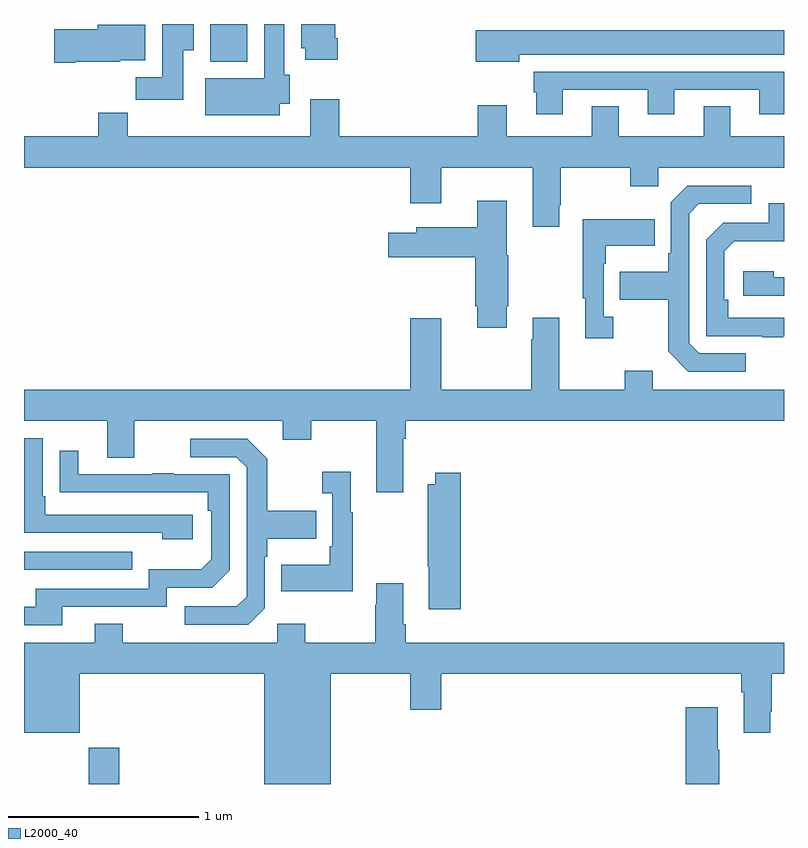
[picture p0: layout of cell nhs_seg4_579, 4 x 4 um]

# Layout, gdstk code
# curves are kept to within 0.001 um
import gdstk
lib = gdstk.Library(unit=1e-6, precision=1e-09)
def R(c, l, rs):  # rectangles x0, y0, x1, y1
    for r in rs: c.add(gdstk.rectangle(r[:2], r[2:], *l))
def P(c, l, *ps):  # polygons
    for p in ps: c.add(gdstk.Polygon(p, *l))
L2000_40 = (2000, 40)

nhs_seg4_579 = lib.new_cell('nhs_seg4_579')
R(nhs_seg4_579, L2000_40, [(139.342,802.9,139.502,803.092), (139,804.027,139.571,804.123), (139.979,806.702,140.176,806.9)])
P(nhs_seg4_579, L2000_40, [(140.651,806.824),(140.638,806.824),(140.638,806.9),(140.459,806.9),(140.459,806.772),(140.48,806.772),(140.48,806.712),(140.651,806.712)],
  [(139.837,806.761),(139.894,806.761),(139.894,806.9),(139.727,806.9),(139.727,806.62),(139.588,806.62),(139.588,806.502),(139.837,806.502)],
  [(140.347,806.48),(140.398,806.48),(140.398,806.634),(140.371,806.634),(140.371,806.9),(140.264,806.9),(140.264,806.614),(139.955,806.614),(139.955,806.42),(140.347,806.42)],
  [(139.27,806.702),(139.506,806.702),(139.506,806.708),(139.639,806.708),(139.639,806.896),(139.388,806.896),(139.388,806.873),(139.158,806.873),(139.158,806.695),(139.27,806.695)],
  [(141.607,806.738),(143,806.738),(143,806.866),(141.378,806.866),(141.378,806.702),(141.607,806.702)],
  [(141.835,806.553),(142.283,806.553),(142.283,806.424),(142.423,806.424),(142.423,806.553),(142.871,806.553),(142.871,806.424),(143,806.424),(143,806.649),(141.683,806.649),(141.683,806.541),(141.695,806.541),(141.695,806.424),(141.835,806.424)],
  [(141.817,805.945),(141.825,805.945),(141.825,806.144),(142.192,806.144),(142.192,806.045),(142.338,806.045),(142.338,806.144),(143,806.144),(143,806.308),(142.717,806.308),(142.717,806.468),(142.577,806.468),(142.577,806.308),(142.129,806.308),(142.129,806.468),(141.989,806.468),(141.989,806.308),(141.541,806.308),(141.541,806.473),(141.389,806.473),(141.389,806.308),(140.66,806.308),(140.66,806.503),(140.507,806.503),(140.507,806.308),(139.547,806.308),(139.547,806.432),(139.391,806.432),(139.391,806.308),(139,806.308),(139,806.144),(141.032,806.144),(141.032,805.956),(141.196,805.956),(141.196,806.144),(141.677,806.144),(141.677,805.833),(141.817,805.833)],
  [(142.798,805.167),(142.554,805.167),(142.5,805.221),(142.5,805.902),(142.551,805.953),(142.828,805.953),(142.828,806.049),(142.491,806.049),(142.404,805.962),(142.404,805.693),(142.392,805.693),(142.392,805.597),(142.135,805.597),(142.135,805.45),(142.392,805.45),(142.392,805.177),(142.497,805.071),(142.798,805.071)],
  [(141.541,805.414),(141.549,805.414),(141.549,805.683),(141.541,805.683),(141.541,805.969),(141.386,805.969),(141.386,805.831),(141.065,805.831),(141.065,805.801),(140.916,805.801),(140.916,805.672),(141.374,805.672),(141.374,805.414),(141.386,805.414),(141.386,805.302),(141.541,805.302)],
  [(142.997,805.257),(143,805.257),(143,805.353),(142.706,805.353),(142.706,805.45),(142.686,805.45),(142.686,805.704),(142.739,805.757),(143,805.757),(143,805.956),(142.92,805.956),(142.92,805.854),(142.68,805.854),(142.59,805.764),(142.59,805.257),(142.885,805.257),(142.885,805.252),(142.997,805.252)],
  [(142.102,805.358),(142.05,805.358),(142.05,805.637),(142.063,805.637),(142.063,805.733),(142.319,805.733),(142.319,805.873),(141.942,805.873),(141.942,805.457),(141.953,805.457),(141.953,805.245),(142.102,805.245)],
  [(143,805.566),(142.946,805.566),(142.946,805.6),(142.785,805.6),(142.785,805.47),(143,805.47)],
  [(140.995,804.716),(141.008,804.716),(141.008,804.812),(143,804.812),(143,804.976),(142.309,804.976),(142.309,805.075),(142.162,805.075),(142.162,804.976),(141.817,804.976),(141.817,805.354),(141.677,805.354),(141.677,805.241),(141.67,805.241),(141.67,804.976),(141.196,804.976),(141.196,805.351),(141.032,805.351),(141.032,804.976),(139,804.976),(139,804.812),(139.439,804.812),(139.439,804.618),(139.579,804.618),(139.579,804.812),(140.363,804.812),(140.363,804.713),(140.511,804.713),(140.511,804.812),(140.855,804.812),(140.855,804.435),(140.995,804.435)],
  [(139.888,804.318),(139.111,804.318),(139.111,804.415),(139.098,804.415),(139.098,804.72),(139,804.72),(139,804.624),(139.002,804.624),(139.002,804.222),(139.727,804.222),(139.727,804.188),(139.888,804.188)],
  [(140.268,803.826),(140.268,804.095),(140.281,804.095),(140.281,804.191),(140.537,804.191),(140.537,804.339),(140.281,804.339),(140.281,804.611),(140.175,804.717),(139.875,804.717),(139.875,804.621),(140.118,804.621),(140.172,804.567),(140.172,803.886),(140.121,803.835),(139.845,803.835),(139.845,803.739),(140.181,803.739)],
  [(139.201,803.832),(139.752,803.832),(139.752,803.934),(139.992,803.934),(140.082,804.024),(140.082,804.531),(139.787,804.531),(139.787,804.536),(139.675,804.536),(139.675,804.531),(139.285,804.531),(139.285,804.655),(139.189,804.655),(139.189,804.436),(139.966,804.435),(139.966,804.338),(139.986,804.338),(139.986,804.084),(139.933,804.031),(139.656,804.031),(139.656,803.928),(139.061,803.928),(139.061,803.832),(139,803.832),(139,803.736),(139.201,803.736)],
  [(140.731,804.331),(140.719,804.331),(140.719,804.544),(140.571,804.544),(140.571,804.431),(140.622,804.431),(140.622,804.151),(140.61,804.151),(140.61,804.055),(140.353,804.055),(140.353,803.915),(140.731,803.915)],
  [(141.299,804.538),(141.164,804.538),(141.164,804.478),(141.124,804.478),(141.124,804.043),(141.131,804.043),(141.131,803.82),(141.299,803.82)],
  [(140.614,803.48),(141.032,803.48),(141.032,803.292),(141.196,803.292),(141.196,803.48),(142.775,803.48),(142.775,803.384),(142.787,803.384),(142.787,803.169),(142.927,803.169),(142.927,803.281),(142.935,803.281),(142.935,803.48),(143,803.48),(143,803.644),(141.008,803.644),(141.008,803.74),(140.995,803.74),(140.995,803.956),(140.855,803.956),(140.855,803.843),(140.848,803.843),(140.848,803.644),(140.481,803.644),(140.481,803.743),(140.334,803.743),(140.334,803.644),(139.521,803.644),(139.521,803.743),(139.373,803.743),(139.373,803.644),(139,803.644),(139,803.171),(139.294,803.171),(139.294,803.48),(140.264,803.48),(140.264,802.9),(140.614,802.9)],
  [(142.659,803.081),(142.651,803.081),(142.651,803.305),(142.484,803.305),(142.484,802.9),(142.659,802.9)])

lib.write_gds('nhs_seg4_579.gds')
